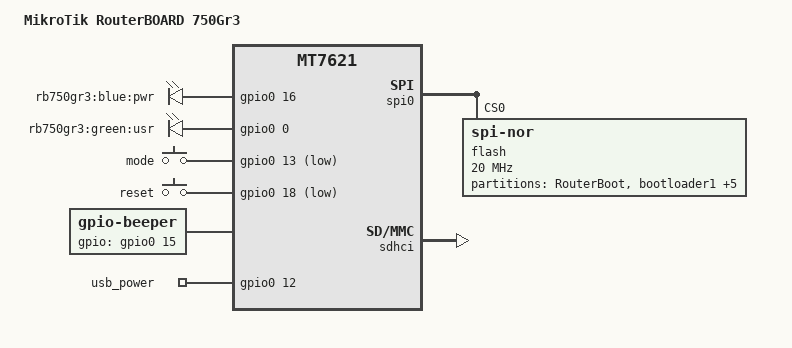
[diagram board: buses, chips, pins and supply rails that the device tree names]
// SPDX-License-Identifier: GPL-2.0-or-later OR MIT
/dts-v1/;

#include "mt7621.dtsi"

#include <dt-bindings/input/input.h>
#include <dt-bindings/gpio/gpio.h>

/ {
	compatible = "mikrotik,rb750gr3", "mediatek,mt7621-soc";
	model = "MikroTik RouterBOARD 750Gr3";

	aliases {
		led-boot = &led_usr;
		led-failsafe = &led_usr;
		led-running = &led_usr;
		led-upgrade = &led_usr;
	};

	chosen {
		bootargs = "console=ttyS0,115200";
	};

	leds {
		compatible = "gpio-leds";

		pwr {
			label = "rb750gr3:blue:pwr";
			gpios = <&gpio0 16 GPIO_ACTIVE_HIGH>;
			default-state = "on";
		};

		led_usr: usr {
			label = "rb750gr3:green:usr";
			gpios = <&gpio0 0 GPIO_ACTIVE_HIGH>;
		};
	};

	keys {
		compatible = "gpio-keys";

		mode {
			label = "mode";
			gpios = <&gpio0 13 GPIO_ACTIVE_LOW>;
			linux,code = <BTN_0>;
		};

		reset {
			label = "reset";
			gpios = <&gpio0 18 GPIO_ACTIVE_LOW>;
			linux,code = <KEY_RESTART>;
		};
	};

	beeper {
		compatible = "gpio-beeper";
		gpios = <&gpio0 15 GPIO_ACTIVE_HIGH>;
	};

	gpio_export {
		compatible = "gpio-export";
		#size-cells = <0>;

		usb_power {
			gpio-export,name = "usb_power";
			gpio-export,output = <1>;
			gpios = <&gpio0 12 GPIO_ACTIVE_HIGH>;
		};
	};
};

&spi0 {
	status = "okay";

	flash@0 {
		compatible = "jedec,spi-nor";
		reg = <0>;
		spi-max-frequency = <20000000>;

		partitions {
			compatible = "fixed-partitions";
			#address-cells = <1>;
			#size-cells = <1>;

			partition@0 {
				label = "RouterBoot";
				reg = <0x0 0x40000>;
				read-only;
				compatible = "fixed-partitions";
				#address-cells = <1>;
				#size-cells = <1>;

				partition@0 {
					label = "bootloader1";
					reg = <0x0 0xf000>;
					read-only;
				};

				hard_config: partition@f000 {
					label = "hard_config";
					reg = <0xf000 0x1000>;
					read-only;
				};

				partition@10000 {
					label = "bootloader2";
					reg = <0x10000 0xf000>;
					read-only;
				};

				partition@20000 {
					label = "soft_config";
					reg = <0x20000 0x1000>;
				};

				partition@30000 {
					label = "bios";
					reg = <0x30000 0x1000>;
					read-only;
				};
			};

			partition@40000 {
				compatible = "mikrotik,minor";
				label = "firmware";
				reg = <0x040000 0xfc0000>;
			};
		};
	};
};

&ethernet {
	mtd-mac-address = <&hard_config 0x0010>;
	mtd-mac-address-increment = <1>;
};

&state_default {
	gpio {
		/* via gpio7 (uart3 group) the PoE status can be read */
		ralink,group = "uart2", "uart3", "jtag", "wdt";
		ralink,function = "gpio";
	};
};

&sdhci {
	status = "okay";
};
